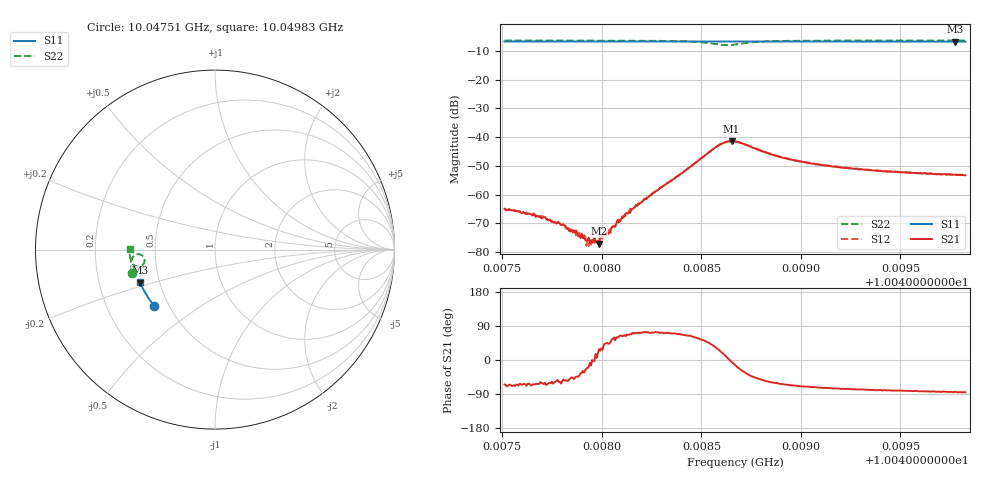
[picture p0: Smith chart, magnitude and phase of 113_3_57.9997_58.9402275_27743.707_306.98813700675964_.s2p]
#  HZ  S  RI  R  50.00
! Rohde & Schwarz Vector Network Analyzer
! Rohde-Schwarz,ZNB20-2Port,1311601062101988,3.16
! Created: UTC 3/21/2024, 12:55:18 AM
! freq[Hz]  re:S11  im:S11  re:S21  im:S21  re:S12  im:S12  re:S22  im:S22
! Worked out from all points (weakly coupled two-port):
!   401 points, 10.04751 GHz to 10.04983 GHz, reference 50 ohm
!   highest |S21| = -41.44 dB at 10.04865 GHz (marker M1); lowest = -77.1 dB at 10.04799 GHz (marker M2)
!   lowest |S11| = -6.8 dB at 10.04977 GHz (marker M3), VSWR 2.68, Z = 19.4 - j9.07 ohm
!   |S11| at or under -10 dB: nowhere
!   |S22| runs from -8.0 to -6.4 dB; largest |S21 - S12| = 0.0006
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1.0047512e10  -0.3384 -0.3119  0.000245 -0.000514  0.000266 -0.000514  -0.4602 -0.1284
1.0047651e10  -0.3444 -0.3047  0.000186 -0.000419  0.000198 -0.000383  -0.4625 -0.1185
1.0047714e10  -0.3471 -0.3014  0.000204 -0.000354  0.000166 -0.000328  -0.4633 -0.1139
1.0047801e10  -0.3506 -0.2969  0.000167 -0.00025  0.000171 -0.000242  -0.4645 -0.1073
1.0047842e10  -0.3524 -0.2947  0.000152 -0.000173  0.000165 -0.000191  -0.4651 -0.1041
1.0047899e10  -0.3546 -0.2916  0.000174 -0.000116  0.000171 -7.5e-05  -0.4657 -0.0994
1.0047934e10  -0.3561 -0.29  0.000169 -5.8e-05  0.000124 -2.78e-05  -0.4661 -0.0964
1.0047986e10  -0.3581 -0.2871  0.000123 6.79e-05  0.000156 7.02e-05  -0.4665 -0.0925
1.0048004e10  -0.3588 -0.2862  0.000163 8.24e-05  0.000139 0.000105  -0.4666 -0.0908
1.0048032e10  -0.3599 -0.2847  0.000156 0.000144  0.000126 0.000155  -0.4667 -0.0882
1.0048114e10  -0.3633 -0.2804  0.000174 0.000383  0.000182 0.000408  -0.4672 -0.081
1.0048148e10  -0.3645 -0.2785  0.000213 0.000516  0.000161 0.000532  -0.4673 -0.0777
1.0048287e10  -0.3699 -0.271  0.000387 0.00118  0.000322 0.0012  -0.4657 -0.0624
1.0048577e10  -0.3798 -0.2546  0.00579 0.00353  0.00557 0.00392  -0.4118 -0.029
1.0048617e10  -0.3812 -0.2525  0.00785 0.00183  0.0078 0.00228  -0.3948 -0.0463
1.0048652e10  -0.3821 -0.2508  0.00844 -0.000737  0.00851 -0.000213  -0.3932 -0.0693
1.0048669e10  -0.3828 -0.25  0.00815 -0.00194  0.00828 -0.00144  -0.3977 -0.0796
1.0048877e10  -0.3904 -0.2384  0.0023 -0.00412  0.00256 -0.00404  -0.4592 -0.0788
1.0049057e10  -0.3962 -0.228  0.00112 -0.00326  0.00132 -0.00322  -0.4699 -0.0569
1.0049445e10  -0.408 -0.2052  0.00044 -0.00246  0.000569 -0.00247  -0.4756 -0.0227
1.0049774e10  -0.4166 -0.1851  0.000226 -0.00221  0.000353 -0.00218  -0.4763 0.00192
1.0049827e10  -0.418 -0.1822  0.000182 -0.00217  0.000313 -0.00214  -0.4763 0.0056
